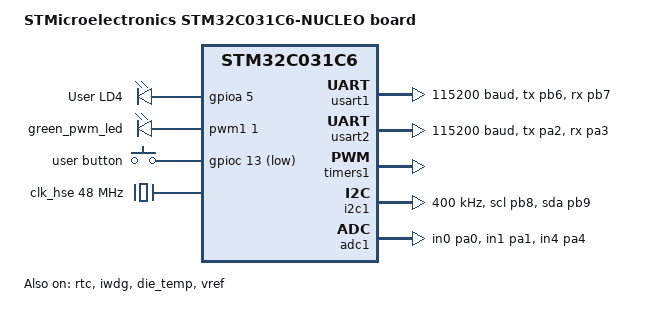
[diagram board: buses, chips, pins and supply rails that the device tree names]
/*
 * Copyright (c) 2023 Benjamin Björnsson <benjamin.bjornsson@gmail.com>
 *
 * SPDX-License-Identifier: Apache-2.0
 */

/dts-v1/;
#include <st/c0/stm32c031X6.dtsi>
#include <st/c0/stm32c031c(4-6)tx-pinctrl.dtsi>
#include "arduino_r3_connector.dtsi"
#include <zephyr/dt-bindings/input/input-event-codes.h>

/ {
	model = "STMicroelectronics STM32C031C6-NUCLEO board";
	compatible = "st,stm32c031c6-nucleo";

	chosen {
		zephyr,console = &usart2;
		zephyr,shell-uart = &usart2;
		zephyr,sram = &sram0;
		zephyr,flash = &flash0;
	};

	leds: leds {
		compatible = "gpio-leds";

		green_led_4: led_4 {
			gpios = <&gpioa 5 GPIO_ACTIVE_HIGH>;
			label = "User LD4";
		};
	};

	pwmleds {
		compatible = "pwm-leds";

		green_pwm_led: green_pwm_led {
			pwms = <&pwm1 1 PWM_MSEC(20) PWM_POLARITY_NORMAL>;
		};
	};

	gpio_keys {
		compatible = "gpio-keys";

		user_button: button {
			label = "user button";
			gpios = <&gpioc 13 GPIO_ACTIVE_LOW>;
			status = "okay";
			zephyr,code = <INPUT_KEY_0>;
		};
	};

	aliases {
		led0 = &green_led_4;
		pwm-led0 = &green_pwm_led;
		sw0 = &user_button;
		watchdog0 = &iwdg;
		die-temp0 = &die_temp;
		volt-sensor0 = &vref;
	};
};

&clk_lse {
	status = "okay";
};

&clk_hse {
	clock-frequency = <DT_FREQ_M(48)>;
	status = "okay";
};

&rcc {
	clocks = <&clk_hse>;
	clock-frequency = <DT_FREQ_M(48)>;
	ahb-prescaler = <1>;
	apb1-prescaler = <1>;
};

&usart1 {
	pinctrl-0 = <&usart1_tx_pb6 &usart1_rx_pb7>;
	pinctrl-names = "default";
	current-speed = <115200>;
};

&usart2 {
	pinctrl-0 = <&usart2_tx_pa2 &usart2_rx_pa3>;
	pinctrl-names = "default";
	current-speed = <115200>;
	status = "okay";
};

&rtc {
	clocks = <&rcc STM32_CLOCK(APB1, 10)>,
		 <&rcc STM32_SRC_LSE RTC_SEL(1)>;
	status = "okay";
};

&iwdg {
	status = "okay";
};

&timers1 {
	st,prescaler = <10000>;
	status = "okay";

	pwm1: pwm {
		pinctrl-0 = <&tim1_ch1_pa5>;
		pinctrl-names = "default";
		status = "okay";
	};
};

&i2c1 {
	pinctrl-0 = <&i2c1_scl_pb8 &i2c1_sda_pb9>;
	pinctrl-names = "default";
	status = "okay";
	clock-frequency = <I2C_BITRATE_FAST>;
};

&adc1 {
	clocks = <&rcc STM32_CLOCK(APB1_2, 20)>,
		 <&rcc STM32_SRC_SYSCLK ADC_SEL(0)>;
	pinctrl-0 = <&adc1_in0_pa0 &adc1_in1_pa1 &adc1_in4_pa4>;
	pinctrl-names = "default";
	st,adc-clock-source = "ASYNC";
	st,adc-prescaler = <32>;
	status = "okay";
};

&die_temp {
	status = "okay";
};

&vref {
	status = "okay";
};

&dma1 {
	status = "okay";
};

&dmamux1 {
	status = "okay";
};
